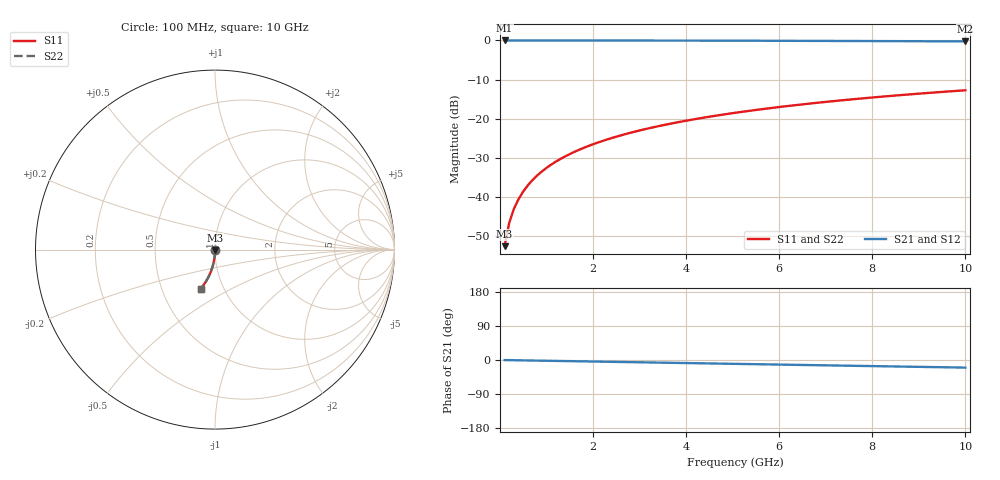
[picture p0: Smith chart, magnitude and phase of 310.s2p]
# Hz S RI R 50.00
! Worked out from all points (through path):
!   100 points, 100 MHz to 10 GHz, reference 50 ohm
!   highest |S21| = 0.00 dB at 100 MHz (marker M1); lowest = -0.2 dB at 10 GHz (marker M2)
!   group delay of S21, straight-line fit = 5.58 ps
!   lowest |S11| = -52.5 dB at 100 MHz (marker M3), VSWR 1.00, Z = 50 - j0.236 ohm
!   |S11| at or under -10 dB: start of sweep to end of sweep
!   |S22| runs from -52.5 to -12.7 dB; largest |S21 - S12| = 0
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1e8  0.000144 -0.00236  0.9998 -0.00351  0.9998 -0.00351  0.000144 -0.00236
2e8  0.000117 -0.00473  0.9998 -0.00701  0.9998 -0.00701  0.000117 -0.00473
3e8  7.36e-05 -0.00709  0.9998 -0.0105  0.9998 -0.0105  7.36e-05 -0.00709
4e8  1.34e-05 -0.00946  0.9997 -0.014  0.9997 -0.014  1.34e-05 -0.00946
5e8  -6.35e-05 -0.0118  0.9996 -0.0175  0.9996 -0.0175  -6.35e-05 -0.0118
6e8  -0.000157 -0.0142  0.9995 -0.021  0.9995 -0.021  -0.000157 -0.0142
7e8  -0.000267 -0.0165  0.9994 -0.0245  0.9994 -0.0245  -0.000267 -0.0165
8e8  -0.000394 -0.0189  0.9992 -0.028  0.9992 -0.028  -0.000394 -0.0189
9e8  -0.000538 -0.0213  0.9991 -0.0315  0.9991 -0.0315  -0.000538 -0.0213
1.1e9  -0.000875 -0.026  0.9987 -0.0386  0.9987 -0.0386  -0.000875 -0.026
1.4e9  -0.0015 -0.0331  0.998 -0.0491  0.998 -0.0491  -0.0015 -0.0331
1.8e9  -0.00258 -0.0425  0.9969 -0.0631  0.9969 -0.0631  -0.00258 -0.0425
2.1e9  -0.00356 -0.0496  0.9958 -0.0736  0.9958 -0.0736  -0.00356 -0.0496
2.5e9  -0.00509 -0.0589  0.9942 -0.0875  0.9942 -0.0875  -0.00509 -0.0589
2.9e9  -0.0069 -0.0683  0.9922 -0.1015  0.9922 -0.1015  -0.0069 -0.0683
3.4e9  -0.00952 -0.0798  0.9894 -0.1188  0.9894 -0.1188  -0.00952 -0.0798
4.2e9  -0.0146 -0.0982  0.9839 -0.1464  0.9839 -0.1464  -0.0146 -0.0982
5.1e9  -0.0214 -0.1184  0.9765 -0.1771  0.9765 -0.1771  -0.0214 -0.1184
5.9e9  -0.0286 -0.136  0.9687 -0.204  0.9687 -0.204  -0.0286 -0.136
6.7e9  -0.0368 -0.1531  0.9599 -0.2304  0.9599 -0.2304  -0.0368 -0.1531
8.4e9  -0.057 -0.1875  0.9379 -0.2849  0.9379 -0.2849  -0.057 -0.1875
1e10  -0.0794 -0.2172  0.9134 -0.3337  0.9134 -0.3337  -0.0794 -0.2172
